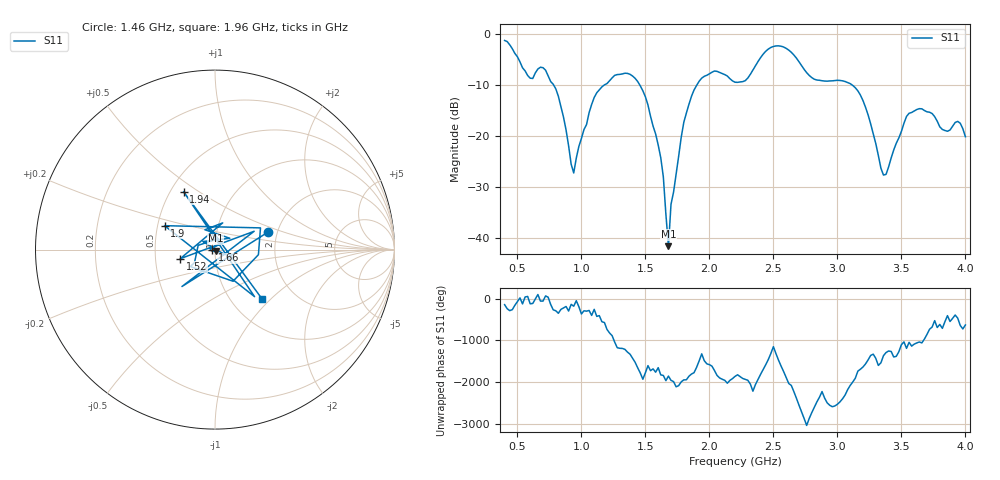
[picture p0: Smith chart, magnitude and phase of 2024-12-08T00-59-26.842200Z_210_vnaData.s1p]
!Created with skrf (http://scikit-rf.org).
# Hz S RI R 50.0
!freq ReS11 ImS11
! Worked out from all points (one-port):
!   181 points, 400 MHz to 4 GHz, reference 50 ohm
!   lowest |S11| = -41.7 dB at 1.68 GHz (marker M1), VSWR 1.02, Z = 50.5 - j0.689 ohm
!   |S11| at or under -10 dB: 781.9 MHz to 1.182 GHz (399.6 MHz wide, 40.7 % of centre); 1.455 GHz to 1.903 GHz (448.5 MHz wide, 26.7 % of centre); 3.113 GHz to end of sweep
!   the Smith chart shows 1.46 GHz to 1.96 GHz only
!   S11 on the Smith chart (normalised r, x): 1.46 GHz: 1.78, +0.38; 1.52 GHz: 0.67, -0.07; 1.66 GHz: 0.97, -0.01; 1.9 GHz: 0.54, +0.16; 1.94 GHz: 0.58, +0.43; 1.96 GHz: 1.38, -0.90
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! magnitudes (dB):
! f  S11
! 400 MHz  -1.3
! 600 MHz  -8.7
! 720 MHz  -7.1
! 860 MHz  -16.3
! 940 MHz  -27.3
! 1.1 GHz  -12.5
! 1.3 GHz  -8.0
! 1.46 GHz  -10.2
! 1.52 GHz  -14.0
! 1.62 GHz  -24.3
! 1.66 GHz  -35.4
! 1.68 GHz  -41.7
! 1.7 GHz  -33.5
! 1.76 GHz  -24.0
! 1.8 GHz  -17.4
! 1.9 GHz  -10.1
! 1.94 GHz  -8.7
! 1.96 GHz  -8.3
! 2.2 GHz  -9.5
! 2.48 GHz  -2.7
! 2.66 GHz  -4.2
! 2.82 GHz  -8.9
! 3.1 GHz  -9.8
! 3.22 GHz  -14.4
! 3.36 GHz  -27.7
! 3.56 GHz  -15.6
! 3.94 GHz  -17.2
! 4 GHz  -20.2
